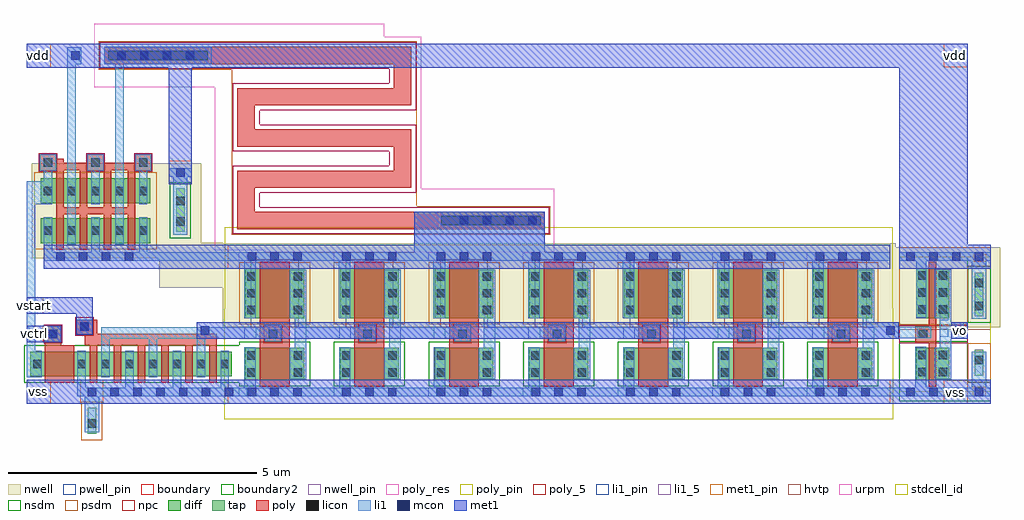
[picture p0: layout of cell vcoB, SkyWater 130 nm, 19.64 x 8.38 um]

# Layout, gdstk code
from math import pi, radians
import gdstk
lib = gdstk.Library(unit=1e-6, precision=1e-09)
def R(c, l, rs):  # rectangles x0, y0, x1, y1
    for r in rs: c.add(gdstk.rectangle(r[:2], r[2:], *l))
def A(c, l, x, y, w, h, nx, ny, dx, dy):  # array of equal rectangles
    R(c, l, [(x+i*dx, y+j*dy, x+i*dx+w, y+j*dy+h) for i in range(nx) for j in range(ny)])
def P(c, l, *ps):  # polygons
    for p in ps: c.add(gdstk.Polygon(p, *l))
nwell_pin = (64, 16)
nwell = (64, 20)
diff = (65, 20)
tap = (65, 44)
poly_5 = (66, 5)
poly_res = (66, 13)
poly_pin = (66, 16)
poly = (66, 20)
licon = (66, 44)
li1_5 = (67, 5)
li1_pin = (67, 16)
li1 = (67, 20)
mcon = (67, 44)
met1_pin = (68, 16)
met1 = (68, 20)
hvtp = (78, 44)
urpm = (79, 20)
stdcell_id = (81, 4)
nsdm = (93, 44)
psdm = (94, 20)
npc = (95, 20)
pwell_pin = (122, 16)
boundary = (235, 4)
boundary2 = (236, 0)

sky130_fd_pr__res_xhigh_ = lib.new_cell('sky130_fd_pr__res_xhigh_po_0p35_JAND4E')
A(sky130_fd_pr__res_xhigh_, poly_res, -1.005, -1.4, 0.35, 2.8, 3, 1, 0.83, 0)
R(sky130_fd_pr__res_xhigh_, poly_res, [(-1.835,-2.35,-1.485,1.4), (-1.005,-1.75,0.175,-1.4), (0.655,-1.75,1.835,-1.4), (1.485,-1.4,1.835,2.35), (-1.835,1.4,-0.655,1.75), (-0.175,1.4,1.005,1.75)])
A(sky130_fd_pr__res_xhigh_, poly, -1.005, -1.4, 0.35, 2.8, 3, 1, 0.83, 0)
R(sky130_fd_pr__res_xhigh_, poly, [(-1.835,-4.43,-1.485,1.4), (-1.005,-1.75,0.175,-1.4), (0.655,-1.75,1.835,-1.4), (1.485,-1.4,1.835,4.43), (-1.835,1.4,-0.655,1.75), (-0.175,1.4,1.005,1.75)])
R(sky130_fd_pr__res_xhigh_, licon, [(-1.755,-4.35,-1.565,-2.35), (1.565,2.35,1.755,4.35)])
R(sky130_fd_pr__res_xhigh_, li1_5, [(-1.835,-4.43,-1.485,-2.27), (1.485,2.27,1.835,4.43)])
R(sky130_fd_pr__res_xhigh_, li1, [(-1.835,-4.43,-1.485,-2.27), (1.485,2.27,1.835,4.43)])
R(sky130_fd_pr__res_xhigh_, urpm, [(-2.295,-4.63,-1.025,-2.21), (-2.295,-2.21,2.255,-1.2), (-2.295,-1.2,2.295,1.2), (-2.035,1.2,2.295,1.95), (1.025,1.95,2.295,4.63)])
R(sky130_fd_pr__res_xhigh_, psdm, [(-1.945,-4.54,-1.375,-1.86), (-1.945,-1.86,1.945,1.86), (1.375,1.86,1.945,4.54)])
A(sky130_fd_pr__res_xhigh_, npc, -1.1, -1.305, 0.54, 2.61, 3, 1, 0.83, 0)
R(sky130_fd_pr__res_xhigh_, npc, [(-1.93,-4.525,-1.39,1.305), (-1.1,-1.845,0.27,-1.305), (0.56,-1.845,1.93,-1.305), (1.39,-1.305,1.93,4.525), (-1.93,1.305,-0.56,1.845), (-0.27,1.305,1.1,1.845)])
sky130_fd_pr__res_xhigh_.add(gdstk.Label('r0', (1.66,3.35), layer=67, texttype=5))
sky130_fd_pr__res_xhigh_.add(gdstk.Label('r1', (-1.66,-3.35), layer=67, texttype=5))

sky130_fd_pr__nfet_01v8_ = lib.new_cell('sky130_fd_pr__nfet_01v8_YEG85W')
R(sky130_fd_pr__nfet_01v8_, diff, [(-1.585,-0.25,1.585,0.25)])
A(sky130_fd_pr__nfet_01v8_, poly_5, -1.275, -0.25, 0.15, 0.5, 6, 1, 0.48, 0)
A(sky130_fd_pr__nfet_01v8_, poly, -1.275, -0.38, 0.15, 0.76, 6, 1, 0.48, 0)
A(sky130_fd_pr__nfet_01v8_, licon, -1.525, -0.085, 0.17, 0.17, 7, 1, 0.48, 0)
A(sky130_fd_pr__nfet_01v8_, li1, -1.525, -0.27, 0.17, 0.54, 7, 1, 0.48, 0)
R(sky130_fd_pr__nfet_01v8_, nsdm, [(-1.71,-0.375,1.71,0.375)])
sky130_fd_pr__nfet_01v8_.add(gdstk.Label('s', (-1.44,0), layer=67, texttype=5))
sky130_fd_pr__nfet_01v8_.add(gdstk.Label('g', (-1.2,0), layer=66, texttype=5))
sky130_fd_pr__nfet_01v8_.add(gdstk.Label('d', (-0.96,0), layer=67, texttype=5))
sky130_fd_pr__nfet_01v8_.add(gdstk.Label('g', (-0.72,0), layer=66, texttype=5))
sky130_fd_pr__nfet_01v8_.add(gdstk.Label('s', (-0.48,0), layer=67, texttype=5))
sky130_fd_pr__nfet_01v8_.add(gdstk.Label('g', (-0.24,0), layer=66, texttype=5))
sky130_fd_pr__nfet_01v8_.add(gdstk.Label('d', (0,0), layer=67, texttype=5))
sky130_fd_pr__nfet_01v8_.add(gdstk.Label('g', (0.24,0), layer=66, texttype=5))
sky130_fd_pr__nfet_01v8_.add(gdstk.Label('s', (0.48,0), layer=67, texttype=5))
sky130_fd_pr__nfet_01v8_.add(gdstk.Label('g', (0.72,0), layer=66, texttype=5))
sky130_fd_pr__nfet_01v8_.add(gdstk.Label('s', (1.44,0), layer=67, texttype=5))
sky130_fd_pr__nfet_01v8_.add(gdstk.Label('d', (0.96,0), layer=67, texttype=5))
sky130_fd_pr__nfet_01v8_.add(gdstk.Label('g', (1.2,0), layer=66, texttype=5))

sky130_fd_pr__pfet_01v8_ = lib.new_cell('sky130_fd_pr__pfet_01v8_52X2FE')
R(sky130_fd_pr__pfet_01v8_, nwell, [(-1.285,-0.56,1.285,0.56)])
R(sky130_fd_pr__pfet_01v8_, diff, [(-1.105,-0.25,1.105,0.25)])
A(sky130_fd_pr__pfet_01v8_, poly_5, -0.795, -0.25, 0.15, 0.5, 4, 1, 0.48, 0)
A(sky130_fd_pr__pfet_01v8_, poly, -0.795, -0.38, 0.15, 0.76, 4, 1, 0.48, 0)
A(sky130_fd_pr__pfet_01v8_, licon, -1.045, -0.085, 0.17, 0.17, 5, 1, 0.48, 0)
A(sky130_fd_pr__pfet_01v8_, li1, -1.045, -0.27, 0.17, 0.54, 5, 1, 0.48, 0)
R(sky130_fd_pr__pfet_01v8_, psdm, [(-1.23,-0.375,1.23,0.375)])
sky130_fd_pr__pfet_01v8_.add(gdstk.Label('d', (-0.96,0), layer=67, texttype=5))
sky130_fd_pr__pfet_01v8_.add(gdstk.Label('g', (-0.72,0), layer=66, texttype=5))
sky130_fd_pr__pfet_01v8_.add(gdstk.Label('s', (-0.48,0), layer=67, texttype=5))
sky130_fd_pr__pfet_01v8_.add(gdstk.Label('g', (-0.24,0), layer=66, texttype=5))
sky130_fd_pr__pfet_01v8_.add(gdstk.Label('d', (0,0), layer=67, texttype=5))
sky130_fd_pr__pfet_01v8_.add(gdstk.Label('g', (0.24,0), layer=66, texttype=5))
sky130_fd_pr__pfet_01v8_.add(gdstk.Label('d', (0.96,0), layer=67, texttype=5))
sky130_fd_pr__pfet_01v8_.add(gdstk.Label('s', (0.48,0), layer=67, texttype=5))
sky130_fd_pr__pfet_01v8_.add(gdstk.Label('g', (0.72,0), layer=66, texttype=5))

c_sky130_fd_pr__nfet_01v8_ = lib.new_cell('sky130_fd_pr__nfet_01v8_NAAUVB')
R(c_sky130_fd_pr__nfet_01v8_, diff, [(-0.59,-0.25,0.59,0.25)])
R(c_sky130_fd_pr__nfet_01v8_, poly_pin, [(-0.3,-0.25,0.3,0.25)])
R(c_sky130_fd_pr__nfet_01v8_, poly, [(-0.3,-0.38,0.3,0.38)])
R(c_sky130_fd_pr__nfet_01v8_, licon, [(-0.53,-0.085,-0.36,0.085), (0.36,-0.085,0.53,0.085)])
R(c_sky130_fd_pr__nfet_01v8_, li1, [(-0.53,-0.27,-0.36,0.27), (0.36,-0.27,0.53,0.27)])
R(c_sky130_fd_pr__nfet_01v8_, nsdm, [(-0.715,-0.375,0.715,0.375)])
c_sky130_fd_pr__nfet_01v8_.add(gdstk.Label('d', (-0.445,0), layer=67, texttype=5))
c_sky130_fd_pr__nfet_01v8_.add(gdstk.Label('s', (0.445,0), layer=67, texttype=5))
c_sky130_fd_pr__nfet_01v8_.add(gdstk.Label('g', (0,0), layer=66, texttype=5))

c_sky130_fd_pr__pfet_01v8_ = lib.new_cell('sky130_fd_pr__pfet_01v8_hvt_XPYSBA')
R(c_sky130_fd_pr__pfet_01v8_, nwell, [(-0.77,-0.68,0.77,0.68)])
R(c_sky130_fd_pr__pfet_01v8_, diff, [(-0.59,-0.5,0.59,0.5)])
R(c_sky130_fd_pr__pfet_01v8_, poly, [(-0.3,-0.63,0.3,0.63)])
R(c_sky130_fd_pr__pfet_01v8_, hvtp, [(-0.48,-0.68,0.48,0.68)])
R(c_sky130_fd_pr__pfet_01v8_, stdcell_id, [(-1.01,-1.33,1.01,1.33)])
R(c_sky130_fd_pr__pfet_01v8_, psdm, [(-0.715,-0.625,0.715,0.625)])
R(c_sky130_fd_pr__pfet_01v8_, boundary, [(-1.01,-1.33,1.01,1.33)])

c_sky130_fd_pr__nfet_01v8__ = lib.new_cell('sky130_fd_pr__nfet_01v8_RFBLNB')
R(c_sky130_fd_pr__nfet_01v8__, diff, [(-0.59,-0.325,0.59,0.325)])
R(c_sky130_fd_pr__nfet_01v8__, poly, [(-0.3,-0.455,0.3,0.455)])
R(c_sky130_fd_pr__nfet_01v8__, stdcell_id, [(-1.015,-1.11,1.015,1.11)])
R(c_sky130_fd_pr__nfet_01v8__, nsdm, [(-0.715,-0.45,0.715,0.45)])
R(c_sky130_fd_pr__nfet_01v8__, boundary, [(-1.015,-1.11,1.015,1.11)])

inv_0p25 = lib.new_cell('inv_0p25')
R(inv_0p25, nwell_pin, [(0.05,-3.995,0.22,-3.825)])
R(inv_0p25, nwell, [(-1.565,-4.185,0.55,-2.495)])
A(inv_0p25, diff, -1.05, -3.6, 0.17, 0.17, 1, 3, 0, 0.34)
A(inv_0p25, diff, -0.12, -3.6, 0.17, 0.17, 1, 3, 0, 0.34)
R(inv_0p25, diff, [(-1.05,-2.005,-0.88,-1.835), (-0.12,-2.005,0.05,-1.835), (-1.05,-1.665,-0.88,-1.495), (-0.12,-1.665,0.05,-1.495)])
R(inv_0p25, poly, [(-0.8,-2.545,-0.2,-2.205)])
A(inv_0p25, licon, -1.05, -3.6, 0.17, 0.17, 1, 3, 0, 0.34)
A(inv_0p25, licon, -0.12, -3.6, 0.17, 0.17, 1, 3, 0, 0.34)
R(inv_0p25, licon, [(-0.55,-2.44,-0.38,-2.27), (-1.05,-2.005,-0.88,-1.835), (-0.12,-2.005,0.05,-1.835), (-1.05,-1.665,-0.88,-1.495), (-0.12,-1.665,0.05,-1.495)])
R(inv_0p25, li1_pin, [(-1.13,-2.495,-0.9,-2.26), (-0.125,-2.495,0.11,-2.26)])
R(inv_0p25, li1, [(-1.46,-3.995,0.445,-3.825), (-0.12,-3.825,0.115,-2.67), (-1.13,-3.645,-0.8,-2.675), (-1.13,-2.675,-0.9,-2.075), (-0.63,-2.545,-0.3,-2.495), (-0.63,-2.495,0.11,-2.26), (-0.63,-2.26,-0.3,-2.205), (-0.12,-2.085,0.11,-1.275), (-1.13,-2.075,-0.8,-1.445), (-1.46,-1.275,0.445,-1.105)])
A(inv_0p25, mcon, -1.045, -3.995, 0.17, 0.17, 3, 2, 0.46, 2.72)
R(inv_0p25, met1_pin, [(-1.46,-4.15,0.445,-3.67), (-1.46,-1.43,0.445,-0.95)])
R(inv_0p25, met1, [(-1.46,-4.15,0.445,-3.67), (-1.46,-1.43,0.445,-0.95)])
R(inv_0p25, nsdm, [(-1.175,-2.13,-0.755,-1.37), (-0.245,-2.13,0.175,-1.37)])
R(inv_0p25, psdm, [(-1.175,-3.725,-0.755,-2.625), (-0.245,-3.725,0.175,-2.625)])
R(inv_0p25, npc, [(-0.65,-2.54,-0.28,-2.17)])
R(inv_0p25, pwell_pin, [(0.05,-1.275,0.22,-1.105)])
inv_0p25.add(gdstk.Reference(c_sky130_fd_pr__pfet_01v8_, (-0.5,-3.175)))
inv_0p25.add(gdstk.Reference(c_sky130_fd_pr__nfet_01v8__, (-0.5,-1.75)))
inv_0p25.add(gdstk.Label('VSS', (-0.507,-1.19), layer=68, texttype=5))
inv_0p25.add(gdstk.Label('VDD', (-0.507,-3.91), layer=68, texttype=5))
inv_0p25.add(gdstk.Label('A', (-0.007,-2.377), layer=67, texttype=5))
inv_0p25.add(gdstk.Label('Y', (-1.015,-2.377), layer=67, texttype=5))
inv_0p25.add(gdstk.Label('VNB', (0.135,-1.19), layer=64, texttype=59))
inv_0p25.add(gdstk.Label('VPB', (0.135,-3.91), layer=64, texttype=5))

sky130_fd_sc_hd__inv_1 = lib.new_cell('sky130_fd_sc_hd__inv_1')
R(sky130_fd_sc_hd__inv_1, nwell_pin, [(0.145,2.635,0.315,2.805), (0.145,2.635,0.315,2.805)])
R(sky130_fd_sc_hd__inv_1, nwell, [(-0.19,1.305,1.57,2.91)])
R(sky130_fd_sc_hd__inv_1, diff, [(0.34,0.235,1.01,0.885), (0.34,1.485,1.01,2.485)])
P(sky130_fd_sc_hd__inv_1, poly, [(0.75,2.615),(0.6,2.615),(0.6,1.325),(0.32,1.325),(0.32,0.995),(0.6,0.995),(0.6,0.105),(0.75,0.105)])
A(sky130_fd_sc_hd__inv_1, licon, 0.38, 1.575, 0.17, 0.17, 1, 3, 0, 0.34)
A(sky130_fd_sc_hd__inv_1, licon, 0.8, 1.575, 0.17, 0.17, 1, 3, 0, 0.34)
R(sky130_fd_sc_hd__inv_1, licon, [(0.38,0.315,0.55,0.485), (0.8,0.315,0.97,0.485), (0.38,0.655,0.55,0.825), (0.8,0.655,0.97,0.825), (0.4,1.075,0.57,1.245)])
R(sky130_fd_sc_hd__inv_1, li1_pin, [(0.36,1.105,0.53,1.275), (0.82,1.105,0.99,1.275), (0.82,1.445,0.99,1.615)])
R(sky130_fd_sc_hd__inv_1, li1, [(0,-0.085,1.38,0.085), (0.32,0.005,0.55,0.905), (0.32,1.075,0.65,1.315), (0.34,1.495,0.55,2.675), (0,2.635,1.38,2.805)])
P(sky130_fd_sc_hd__inv_1, li1, [(1.05,2.465),(0.72,2.465),(0.72,1.485),(0.82,1.485),(0.82,0.885),(0.72,0.885),(0.72,0.255),(1.05,0.255)])
A(sky130_fd_sc_hd__inv_1, mcon, 0.145, -0.085, 0.17, 0.17, 3, 2, 0.46, 2.72)
R(sky130_fd_sc_hd__inv_1, met1_pin, [(0.145,-0.085,0.315,0.085), (0.145,-0.085,0.315,0.085), (0.145,2.635,0.315,2.805), (0.145,2.635,0.315,2.805)])
R(sky130_fd_sc_hd__inv_1, hvtp, [(0,1.25,1.38,2.72)])
R(sky130_fd_sc_hd__inv_1, stdcell_id, [(0,0,1.38,2.72)])
R(sky130_fd_sc_hd__inv_1, nsdm, [(0,-0.19,1.38,1.015)])
R(sky130_fd_sc_hd__inv_1, psdm, [(0,1.355,1.38,2.91)])
R(sky130_fd_sc_hd__inv_1, npc, [(0,0.975,1.38,1.345)])
R(sky130_fd_sc_hd__inv_1, pwell_pin, [(0.145,-0.085,0.315,0.085), (0.145,-0.085,0.315,0.085)])
R(sky130_fd_sc_hd__inv_1, boundary2, [(0,0,1.38,2.72)])
sky130_fd_sc_hd__inv_1.add(gdstk.FlexPath([(0,2.72),(1.38,2.72)], 0.48, ends="flush", simple_path=True, layer=68, datatype=20))  # met1
sky130_fd_sc_hd__inv_1.add(gdstk.FlexPath([(0,0),(1.38,0)], 0.48, ends="flush", simple_path=True, layer=68, datatype=20))  # met1
sky130_fd_sc_hd__inv_1.add(gdstk.Label('Y', (0.905,1.53), layer=67, texttype=5))
sky130_fd_sc_hd__inv_1.add(gdstk.Label('Y', (0.905,1.19), layer=67, texttype=5))
sky130_fd_sc_hd__inv_1.add(gdstk.Label('A', (0.445,1.19), layer=67, texttype=5))
sky130_fd_sc_hd__inv_1.add(gdstk.Label('VPB', (0.23,2.72), layer=64, texttype=5))
sky130_fd_sc_hd__inv_1.add(gdstk.Label('VNB', (0.23,0), layer=64, texttype=59))
sky130_fd_sc_hd__inv_1.add(gdstk.Label('VGND', (0.23,0), layer=68, texttype=5))
sky130_fd_sc_hd__inv_1.add(gdstk.Label('VPWR', (0.23,2.72), layer=68, texttype=5))
sky130_fd_sc_hd__inv_1.add(gdstk.Label('inv_1', (0,0), layer=83, texttype=44))

tap_1_pwr = lib.new_cell('tap_1_pwr')
R(tap_1_pwr, nwell, [(-0.19,1.305,0.65,2.91)])
R(tap_1_pwr, tap, [(0.145,1.525,0.315,2.4)])
R(tap_1_pwr, licon, [(0.145,1.645,0.315,1.815), (0.145,2.065,0.315,2.235)])
R(tap_1_pwr, li1, [(0.085,1.47,0.375,2.635), (0,2.635,0.46,2.805)])
R(tap_1_pwr, mcon, [(0.145,2.635,0.315,2.805)])
R(tap_1_pwr, met1_pin, [(0,2.48,0.46,2.96), (0.13,2.675,0.345,2.775)])
R(tap_1_pwr, met1, [(0,2.48,0.46,2.96)])
R(tap_1_pwr, nsdm, [(0.02,1.4,0.44,2.525)])
tap_1_pwr.add(gdstk.Label('VPWR', (0.23,2.72), layer=68, texttype=5))
tap_1_pwr.add(gdstk.Label('VPWR', (0.237,2.725), layer=68, texttype=5))

sky130_fd_sc_hd__tapvpwr = lib.new_cell('sky130_fd_sc_hd__tapvpwrvgnd_1')
R(sky130_fd_sc_hd__tapvpwr, nwell, [(-0.19,1.305,0.65,2.91)])
R(sky130_fd_sc_hd__tapvpwr, tap, [(0.145,0.32,0.315,0.845), (0.145,1.525,0.315,2.4)])
R(sky130_fd_sc_hd__tapvpwr, licon, [(0.145,0.555,0.315,0.725), (0.145,1.645,0.315,1.815), (0.145,2.11,0.315,2.28)])
R(sky130_fd_sc_hd__tapvpwr, li1, [(0,-0.085,0.46,0.085), (0.085,0,0.375,0.81), (0.085,1.47,0.375,2.72), (0,2.635,0.46,2.805)])
R(sky130_fd_sc_hd__tapvpwr, mcon, [(0.145,-0.085,0.315,0.085), (0.145,2.635,0.315,2.805)])
R(sky130_fd_sc_hd__tapvpwr, met1_pin, [(0.105,-0.09,0.36,0.1), (0.11,2.62,0.375,2.765)])
R(sky130_fd_sc_hd__tapvpwr, met1, [(0,-0.24,0.46,0.24), (0,2.48,0.46,2.96)])
R(sky130_fd_sc_hd__tapvpwr, hvtp, [(0,1.25,0.46,2.72)])
R(sky130_fd_sc_hd__tapvpwr, stdcell_id, [(0,0,0.46,2.72)])
R(sky130_fd_sc_hd__tapvpwr, nsdm, [(0,-0.19,0.46,0.19), (0,1.395,0.46,2.53)])
R(sky130_fd_sc_hd__tapvpwr, psdm, [(0,0.19,0.46,0.975), (0,2.53,0.46,2.91)])
sky130_fd_sc_hd__tapvpwr.add(gdstk.Label('VPWR', (0.23,2.72), layer=68, texttype=5))
sky130_fd_sc_hd__tapvpwr.add(gdstk.Label('VGND', (0.23,0), layer=68, texttype=5))
sky130_fd_sc_hd__tapvpwr.add(gdstk.Label('tapvpwrvgnd_1', (0,0), layer=83, texttype=44))

tap_1_gnd = lib.new_cell('tap_1_gnd')
R(tap_1_gnd, tap, [(0.145,0.32,0.315,0.845)])
R(tap_1_gnd, licon, [(0.145,0.555,0.315,0.725)])
R(tap_1_gnd, li1, [(0,-0.085,0.46,0.085), (0.085,0.085,0.375,0.81)])
R(tap_1_gnd, mcon, [(0.145,-0.085,0.315,0.085)])
R(tap_1_gnd, met1_pin, [(0,-0.24,0.46,0.24), (0.16,-0.065,0.31,0.07)])
R(tap_1_gnd, met1, [(0,-0.24,0.46,0.24)])
R(tap_1_gnd, psdm, [(0.02,0.195,0.44,0.97)])
tap_1_gnd.add(gdstk.Label('VGND', (0.23,0), layer=68, texttype=5))
tap_1_gnd.add(gdstk.Label('VGND', (0.235,0.002), layer=68, texttype=5))

vcob = lib.new_cell('vcoB')
A(vcob, nwell, -0.45, 4.055, 0.17, 0.17, 3, 1, 0.96, 0)
R(vcob, nwell, [(1.88,3.345,3.15,4.25), (0.03,4.765,0.2,4.805), (0.99,4.765,1.16,4.805), (1.47,4.765,1.64,4.995), (-0.2,4.805,1.39,4.955), (0.03,4.955,0.2,5.025), (0.99,4.955,1.16,5.025)])
A(vcob, poly, -0.2, 4.49, 0.15, 0.33, 4, 1, 0.48, 0)
A(vcob, poly, -0.2, 4.97, 0.15, 0.73, 4, 1, 0.48, 0)
R(vcob, poly, [(-0.43,2.06,-0.1,2.58), (0.48,2.06,0.63,2.19), (0.38,2.19,3.03,2.4), (0.21,2.4,3.03,2.42), (0.21,2.42,0.63,2.7), (-0.2,4.82,1.39,4.97), (-0.53,5.7,-0.05,5.715), (0.28,5.7,0.91,5.715), (1.24,5.7,1.72,5.715), (-0.53,5.715,1.72,5.865), (-0.53,5.865,-0.05,5.94), (0.43,5.865,0.76,6.03), (1.39,5.865,1.72,6.03), (-0.53,5.94,-0.2,6.03)])
A(vcob, licon, -0.45, 5.78, 0.17, 0.17, 3, 1, 0.96, 0)
R(vcob, licon, [(-0.35,2.33,-0.18,2.5), (0.29,2.48,0.46,2.65)])
A(vcob, li1, 1.19, 1.335, 0.17, 0.5, 3, 1, 0.96, 0)
A(vcob, li1, 4.83, 2.32, 0.665, 0.235, 6, 1, 1.905, 0)
A(vcob, li1, -0.45, 4.055, 0.17, 0.445, 3, 1, 0.96, 0)
A(vcob, li1, -0.53, 5.7, 0.33, 0.33, 3, 1, 0.96, 0)
A(vcob, li1, 1.49, 7.935, 0.17, 0.17, 3, 1, 0.46, 0)
R(vcob, li1, [(0.23,1.165,3.365,1.335), (16.59,1.165,16.765,1.335), (0.23,1.335,0.4,1.815), (-0.79,1.54,-0.49,2.08), (0.71,1.805,0.88,2.32), (-0.79,2.08,-0.62,5.025), (1.67,2.08,1.84,2.32), (2.63,2.08,2.8,2.32), (-0.43,2.25,-0.1,2.58), (0.71,2.32,3.59,2.555), (16.26,2.32,16.76,2.325), (17.815,2.32,18.065,2.355), (16.26,2.325,17.3,2.565), (17.585,2.355,18.065,2.525), (0.21,2.4,0.54,2.7), (17.815,2.525,18.065,2.65), (2.71,2.555,2.88,2.57), (16.26,2.565,16.76,2.65), (-0.45,3.885,3.255,4.055), (7.01,4.055,9.63,4.87), (0.03,4.485,0.2,7.84), (0.99,4.485,1.16,7.93), (-0.79,5.025,-0.28,5.485), (-0.45,5.485,-0.28,5.7), (0.51,5.565,0.68,5.7), (1.47,5.565,1.64,5.7), (0.03,7.84,0.31,8.19), (0.99,7.93,2.58,7.935), (0.99,7.935,1.2,8.105), (0.99,8.105,1.16,8.195)])
A(vcob, mcon, 0.435, 1.165, 0.17, 0.17, 7, 1, 0.46, 0)
A(vcob, mcon, -0.2, 3.885, 0.17, 0.17, 4, 1, 0.46, 0)
A(vcob, mcon, 7.925, 4.625, 0.17, 0.17, 4, 1, 0.46, 0)
A(vcob, mcon, 1.03, 7.935, 0.17, 0.17, 4, 1, 0.46, 0)
R(vcob, mcon, [(-0.35,2.33,-0.18,2.5), (2.71,2.4,2.88,2.57), (16.51,2.4,16.68,2.57), (17.895,2.4,18.065,2.57), (0.29,2.48,0.46,2.65), (0.11,7.93,0.28,8.1)])
R(vcob, met1_pin, [(-0.79,1.01,-0.31,1.49), (17.665,1.01,18.145,1.485), (-0.79,2.25,-0.46,2.58), (17.815,2.32,18.145,2.65), (-0.79,2.82,-0.46,3.15), (-0.79,7.775,-0.31,8.255), (17.665,7.78,18.145,8.26)])
R(vcob, met1, [(-0.79,1.01,17.085,1.485), (-0.79,1.485,16.765,1.49), (-0.79,2.25,-0.1,2.58), (2.63,2.32,16.76,2.65), (17.815,2.32,18.145,2.65), (0.21,2.4,0.54,2.82), (-0.79,2.82,0.54,3.15), (-0.45,3.73,16.59,4.21), (7.01,4.21,9.63,4.87), (16.765,4.21,18.145,7.775), (2.07,5.905,2.53,7.775), (-0.79,7.775,18.145,8.255), (16.765,8.255,18.145,8.26)])
R(vcob, nsdm, [(3.465,1.435,3.485,2.185)])
R(vcob, psdm, [(-0.635,4.87,1.825,4.92)])
A(vcob, npc, -0.55, 5.68, 0.37, 0.37, 3, 1, 0.96, 0)
R(vcob, npc, [(-0.45,2.23,-0.08,2.6), (0.19,2.38,0.56,2.75)])
vcob.add(gdstk.Reference(sky130_fd_pr__res_xhigh_, (5.2,6.36), rotation=3*pi/2))
vcob.add(gdstk.Reference(sky130_fd_pr__nfet_01v8_, (1.755,1.81)))
vcob.add(gdstk.Reference(sky130_fd_pr__pfet_01v8_, (0.595,4.495), x_reflection=True))
vcob.add(gdstk.Reference(sky130_fd_pr__pfet_01v8_, (0.595,5.295), x_reflection=True))
vcob.add(gdstk.Reference(c_sky130_fd_pr__nfet_01v8_, (-0.13,1.81)))
vcob.add(gdstk.Reference(inv_0p25, (15.13,0.06), rotation=pi))
vcob.add(gdstk.Reference(inv_0p25, (3.7,0.06), rotation=pi))
vcob.add(gdstk.Reference(sky130_fd_sc_hd__inv_1, (16.765,1.25)))
vcob.add(gdstk.Reference(inv_0p25, (13.225,0.06), rotation=pi))
vcob.add(gdstk.Reference(inv_0p25, (11.32,0.06), rotation=pi))
vcob.add(gdstk.Reference(inv_0p25, (9.415,0.06), rotation=pi))
vcob.add(gdstk.Reference(inv_0p25, (7.51,0.06), rotation=pi))
vcob.add(gdstk.Reference(inv_0p25, (5.605,0.06), rotation=pi))
vcob.add(gdstk.Reference(tap_1_pwr, (2.07,2.945)))
vcob.add(gdstk.Reference(sky130_fd_sc_hd__tapvpwr, (18.145,1.25)))
vcob.add(gdstk.Reference(tap_1_gnd, (0.29,1.25), x_reflection=True))
vcob.add(gdstk.Label('vdd', (-0.55,8.015), layer=68, texttype=5))
vcob.add(gdstk.Label('vdd', (17.905,8.02), layer=68, texttype=5))
vcob.add(gdstk.Label('vss', (-0.55,1.25), layer=68, texttype=5))
vcob.add(gdstk.Label('vss', (17.905,1.247), layer=68, texttype=5))
vcob.add(gdstk.Label('vctrl', (-0.625,2.415), layer=68, texttype=5))
vcob.add(gdstk.Label('vstart', (-0.625,2.985), layer=68, texttype=5))
vcob.add(gdstk.Label('vo', (17.98,2.485), layer=68, texttype=5))

lib.write_gds('vcoB.gds')
